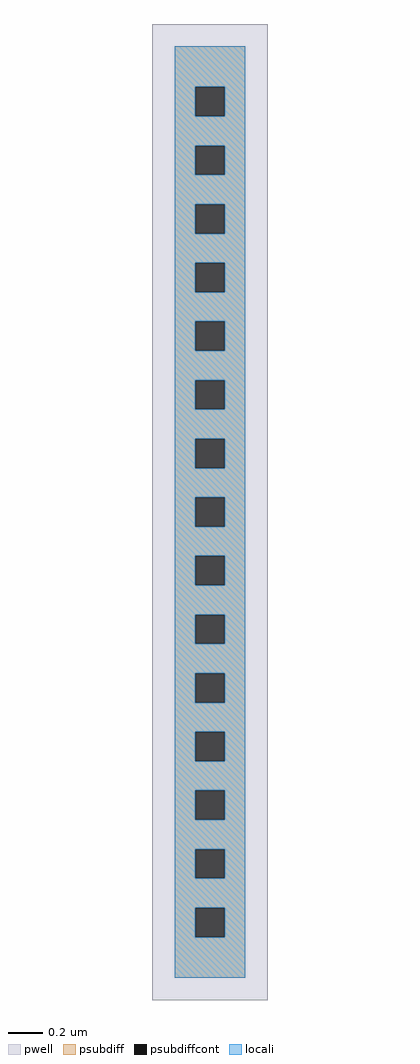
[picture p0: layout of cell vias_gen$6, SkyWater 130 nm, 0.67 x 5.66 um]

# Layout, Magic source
magic
tech sky130A
magscale 1 2
<< pwell >>
rect -26 -26 108 1106
<< psubdiff >>
rect 0 1033 82 1080
rect 0 999 24 1033
rect 58 999 82 1033
rect 0 965 82 999
rect 0 931 24 965
rect 58 931 82 965
rect 0 897 82 931
rect 0 863 24 897
rect 58 863 82 897
rect 0 829 82 863
rect 0 795 24 829
rect 58 795 82 829
rect 0 761 82 795
rect 0 727 24 761
rect 58 727 82 761
rect 0 693 82 727
rect 0 659 24 693
rect 58 659 82 693
rect 0 625 82 659
rect 0 591 24 625
rect 58 591 82 625
rect 0 557 82 591
rect 0 523 24 557
rect 58 523 82 557
rect 0 489 82 523
rect 0 455 24 489
rect 58 455 82 489
rect 0 421 82 455
rect 0 387 24 421
rect 58 387 82 421
rect 0 353 82 387
rect 0 319 24 353
rect 58 319 82 353
rect 0 285 82 319
rect 0 251 24 285
rect 58 251 82 285
rect 0 217 82 251
rect 0 183 24 217
rect 58 183 82 217
rect 0 149 82 183
rect 0 115 24 149
rect 58 115 82 149
rect 0 81 82 115
rect 0 47 24 81
rect 58 47 82 81
rect 0 0 82 47
<< psubdiffcont >>
rect 24 999 58 1033
rect 24 931 58 965
rect 24 863 58 897
rect 24 795 58 829
rect 24 727 58 761
rect 24 659 58 693
rect 24 591 58 625
rect 24 523 58 557
rect 24 455 58 489
rect 24 387 58 421
rect 24 319 58 353
rect 24 251 58 285
rect 24 183 58 217
rect 24 115 58 149
rect 24 47 58 81
<< locali >>
rect 0 1033 82 1080
rect 0 999 24 1033
rect 58 999 82 1033
rect 0 965 82 999
rect 0 931 24 965
rect 58 931 82 965
rect 0 897 82 931
rect 0 863 24 897
rect 58 863 82 897
rect 0 829 82 863
rect 0 795 24 829
rect 58 795 82 829
rect 0 761 82 795
rect 0 727 24 761
rect 58 727 82 761
rect 0 693 82 727
rect 0 659 24 693
rect 58 659 82 693
rect 0 625 82 659
rect 0 591 24 625
rect 58 591 82 625
rect 0 557 82 591
rect 0 523 24 557
rect 58 523 82 557
rect 0 489 82 523
rect 0 455 24 489
rect 58 455 82 489
rect 0 421 82 455
rect 0 387 24 421
rect 58 387 82 421
rect 0 353 82 387
rect 0 319 24 353
rect 58 319 82 353
rect 0 285 82 319
rect 0 251 24 285
rect 58 251 82 285
rect 0 217 82 251
rect 0 183 24 217
rect 58 183 82 217
rect 0 149 82 183
rect 0 115 24 149
rect 58 115 82 149
rect 0 81 82 115
rect 0 47 24 81
rect 58 47 82 81
rect 0 0 82 47
<< end >>
